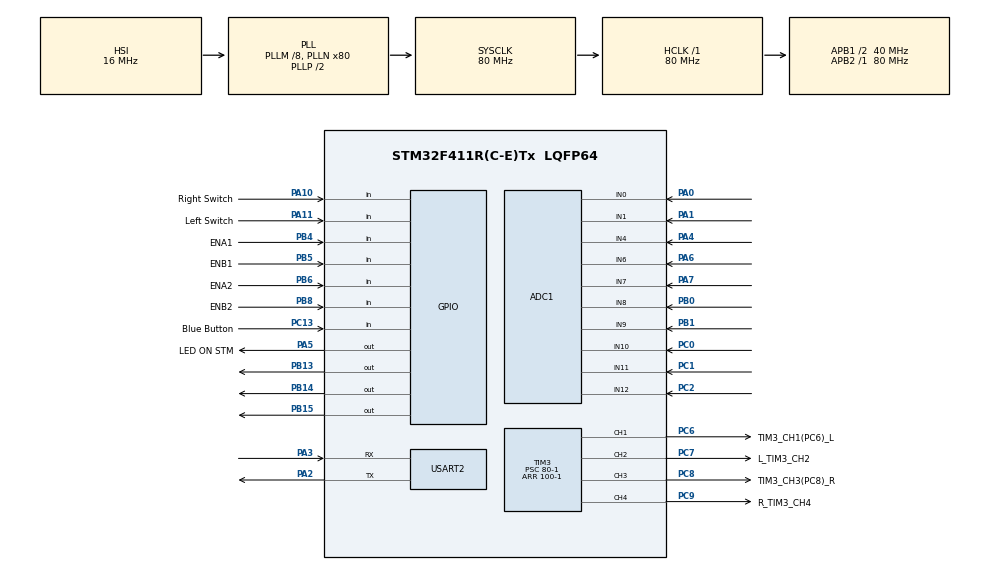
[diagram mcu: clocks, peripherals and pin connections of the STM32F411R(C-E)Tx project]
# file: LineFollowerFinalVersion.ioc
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ADC1.Channel-0\#ChannelRegularConversion=ADC_CHANNEL_0
ADC1.Channel-1\#ChannelRegularConversion=ADC_CHANNEL_1
ADC1.Channel-2\#ChannelRegularConversion=ADC_CHANNEL_4
ADC1.Channel-3\#ChannelRegularConversion=ADC_CHANNEL_6
ADC1.Channel-4\#ChannelRegularConversion=ADC_CHANNEL_7
ADC1.Channel-5\#ChannelRegularConversion=ADC_CHANNEL_8
ADC1.Channel-6\#ChannelRegularConversion=ADC_CHANNEL_9
ADC1.Channel-7\#ChannelRegularConversion=ADC_CHANNEL_10
ADC1.ContinuousConvMode=ENABLE
ADC1.DMAContinuousRequests=ENABLE
ADC1.NbrOfConversion=8
ADC1.NbrOfConversionFlag=1
ADC1.Rank-0\#ChannelRegularConversion=1
ADC1.Rank-1\#ChannelRegularConversion=2
ADC1.Rank-2\#ChannelRegularConversion=3
ADC1.Rank-3\#ChannelRegularConversion=4
ADC1.Rank-4\#ChannelRegularConversion=5
ADC1.Rank-5\#ChannelRegularConversion=6
ADC1.Rank-6\#ChannelRegularConversion=7
ADC1.Rank-7\#ChannelRegularConversion=8
ADC1.SamplingTime-0\#ChannelRegularConversion=ADC_SAMPLETIME_3CYCLES
ADC1.SamplingTime-1\#ChannelRegularConversion=ADC_SAMPLETIME_3CYCLES
ADC1.SamplingTime-2\#ChannelRegularConversion=ADC_SAMPLETIME_3CYCLES
ADC1.SamplingTime-3\#ChannelRegularConversion=ADC_SAMPLETIME_3CYCLES
ADC1.SamplingTime-4\#ChannelRegularConversion=ADC_SAMPLETIME_3CYCLES
ADC1.SamplingTime-5\#ChannelRegularConversion=ADC_SAMPLETIME_3CYCLES
ADC1.SamplingTime-6\#ChannelRegularConversion=ADC_SAMPLETIME_3CYCLES
ADC1.SamplingTime-7\#ChannelRegularConversion=ADC_SAMPLETIME_3CYCLES
ADC1.ScanConvMode=ENABLE
ADC1.master=1
Dma.ADC1.0.Direction=DMA_PERIPH_TO_MEMORY
Dma.ADC1.0.FIFOMode=DMA_FIFOMODE_DISABLE
Dma.ADC1.0.Instance=DMA2_Stream0
Dma.ADC1.0.MemDataAlignment=DMA_MDATAALIGN_HALFWORD
Dma.ADC1.0.MemInc=DMA_MINC_ENABLE
Dma.ADC1.0.Mode=DMA_CIRCULAR
Dma.ADC1.0.PeriphDataAlignment=DMA_PDATAALIGN_HALFWORD
Dma.ADC1.0.PeriphInc=DMA_PINC_DISABLE
Dma.ADC1.0.Priority=DMA_PRIORITY_LOW
Dma.Request0=ADC1
Mcu.Family=STM32F4
Mcu.Name=STM32F411R(C-E)Tx
Mcu.Package=LQFP64
NVIC.DMA2_Stream0_IRQn=true\:0\:0\:false\:false\:true\:false\:true\:true
NVIC.PriorityGroup=NVIC_PRIORITYGROUP_4
NVIC.TIM1_UP_TIM10_IRQn=true\:0\:0\:false\:false\:true\:true\:true\:true
PA0-WKUP.Signal=ADCx_IN0
PA1.Signal=ADCx_IN1
PA10.GPIO_Label=Right Switch
PA10.Signal=GPIO_Input
PA11.GPIO_Label=Left Switch
PA11.Signal=GPIO_Input
PA2.Mode=Asynchronous
PA2.Signal=USART2_TX
PA3.Mode=Asynchronous
PA3.Signal=USART2_RX
PA4.Signal=ADCx_IN4
PA5.GPIO_Label=LED ON STM
PA5.Signal=GPIO_Output
PA6.Signal=ADCx_IN6
PA7.Signal=ADCx_IN7
PB0.Signal=ADCx_IN8
PB1.Signal=ADCx_IN9
PB13.Signal=GPIO_Output
PB14.Signal=GPIO_Output
PB15.Signal=GPIO_Output
PB4.GPIO_Label=ENA1
PB4.Signal=GPIO_Input
PB5.GPIO_Label=ENB1
PB5.Signal=GPIO_Input
PB6.GPIO_Label=ENA2
PB6.Signal=GPIO_Input
PB8.GPIO_Label=ENB2
PB8.Signal=GPIO_Input
PC0.Signal=ADCx_IN10
PC1.Signal=ADCx_IN11
PC13-ANTI_TAMP.GPIO_Label=Blue Button
PC13-ANTI_TAMP.Signal=GPIO_Input
PC2.Signal=ADCx_IN12
PC6.GPIO_Label=TIM3_CH1(PC6)_L
PC6.Signal=S_TIM3_CH1
PC7.GPIO_Label=L_TIM3_CH2
PC7.Signal=S_TIM3_CH2
PC8.GPIO_Label=TIM3_CH3(PC8)_R
PC8.Signal=S_TIM3_CH3
PC9.GPIO_Label=R_TIM3_CH4
PC9.Signal=S_TIM3_CH4
ProjectManager.HeapSize=0x200
ProjectManager.StackSize=0x400
ProjectManager.TargetToolchain=STM32CubeIDE
RCC.48MHZClocksFreq_Value=40000000
RCC.AHBFreq_Value=80000000
RCC.APB1CLKDivider=RCC_HCLK_DIV2
RCC.APB1Freq_Value=40000000
RCC.APB1TimFreq_Value=80000000
RCC.APB2Freq_Value=80000000
RCC.APB2TimFreq_Value=80000000
RCC.CortexFreq_Value=80000000
RCC.HCLKFreq_Value=80000000
RCC.HSE_VALUE=25000000
RCC.HSI_VALUE=16000000
RCC.LSE_VALUE=32768
RCC.PLLM=8
RCC.PLLN=80
RCC.SYSCLKFreq_VALUE=80000000
RCC.SYSCLKSource=RCC_SYSCLKSOURCE_PLLCLK
RCC.VCOOutputFreq_Value=160000000
SH.ADCx_IN0.0=ADC1_IN0,IN0
SH.ADCx_IN1.0=ADC1_IN1,IN1
SH.ADCx_IN10.0=ADC1_IN10,IN10
SH.ADCx_IN11.0=ADC1_IN11,IN11
SH.ADCx_IN12.0=ADC1_IN12,IN12
SH.ADCx_IN4.0=ADC1_IN4,IN4
SH.ADCx_IN6.0=ADC1_IN6,IN6
SH.ADCx_IN7.0=ADC1_IN7,IN7
SH.ADCx_IN8.0=ADC1_IN8,IN8
SH.ADCx_IN9.0=ADC1_IN9,IN9
SH.S_TIM3_CH1.0=TIM3_CH1,PWM Generation1 CH1
SH.S_TIM3_CH2.0=TIM3_CH2,PWM Generation2 CH2
SH.S_TIM3_CH3.0=TIM3_CH3,PWM Generation3 CH3
SH.S_TIM3_CH4.0=TIM3_CH4,PWM Generation4 CH4
TIM10.Period=50000-1
TIM10.Prescaler=80-1
TIM3.Channel-PWM\ Generation1\ CH1=TIM_CHANNEL_1
TIM3.Channel-PWM\ Generation2\ CH2=TIM_CHANNEL_2
TIM3.Channel-PWM\ Generation3\ CH3=TIM_CHANNEL_3
TIM3.Channel-PWM\ Generation4\ CH4=TIM_CHANNEL_4
TIM3.Period=100-1
TIM3.Prescaler=80-1
USART2.VirtualMode=VM_ASYNC
VP_TIM10_VS_ClockSourceINT.Mode=Enable_Timer
board=custom

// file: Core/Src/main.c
/* USER CODE BEGIN Header */
/**
  ******************************************************************************
  * @file           : main.c
  * @brief          : Main program body
  ******************************************************************************
  * @attention
  *
  * Copyright (c) 2023 STMicroelectronics.
  * All rights reserved.
  *
  * This software is licensed under terms that can be found in the LICENSE file
  * in the root directory of this software component.
  * If no LICENSE file comes with this software, it is provided AS-IS.
  *
  ******************************************************************************
  */
/* USER CODE END Header */
#include "main.h"

/* USER CODE BEGIN Includes */
#include "stdio.h"
#include "string.h"
/* USER CODE END Includes */

/* USER CODE BEGIN PD */
#define ADC_BUF_LEN 16
/* USER CODE END PD */

ADC_HandleTypeDef hadc1;
DMA_HandleTypeDef hdma_adc1;

TIM_HandleTypeDef htim3;
TIM_HandleTypeDef htim10;

UART_HandleTypeDef huart2;

/* USER CODE BEGIN PV */
uint16_t adc_current[ADC_BUF_LEN];
uint32_t sensors_max[8], sensors_min[8];
float previousLvalue1, previousLvalue2, previousLvalue3 ,previousRvalue1 ,previousRvalue2, previousRvalue3;
float norm_ss[8];
unsigned char text1[100];
unsigned char text2[100];
float sum_norm_ss = 0;
float position = 0;
float error = 0;
float error_previous = 0;
float error_integral = 0;
float error_derivative = 0;
float setpoint = 0;
float rightMotor;
float leftMotor;
float kp = 2;
float ki = 0.01;
float kd = 0.32;
float pidCalculate;
float linear_v = 100;

float dt = 0.05;

/* USER CODE END PV */

void SystemClock_Config(void);
static void MX_GPIO_Init(void);
static void MX_DMA_Init(void);
static void MX_ADC1_Init(void);
static void MX_USART2_UART_Init(void);
static void MX_TIM3_Init(void);
static void MX_TIM10_Init(void);

int main(void)
{

  /* MCU Configuration--------------------------------------------------------*/

  /* Reset of all peripherals, Initializes the Flash interface and the Systick. */
  HAL_Init();

  /* Configure the system clock */
  SystemClock_Config();

  /* Initialize all configured peripherals */
  MX_GPIO_Init();
  MX_DMA_Init();
  MX_ADC1_Init();
  MX_USART2_UART_Init();
  MX_TIM3_Init();
  MX_TIM10_Init();
  /* USER CODE BEGIN 2 */
  HAL_ADC_Start_DMA(&hadc1, (uint32_t*)adc_current, ADC_BUF_LEN);
  HAL_TIM_PWM_Start(&htim3 , TIM_CHANNEL_1);
  HAL_TIM_PWM_Start(&htim3 , TIM_CHANNEL_3);
  HAL_TIM_PWM_Start(&htim3 , TIM_CHANNEL_2);
  HAL_TIM_PWM_Start(&htim3 , TIM_CHANNEL_4);

//  HAL_GPIO_WritePin(GPIOC, GPIO_PIN_7, GPIO_PIN_RESET);
//  HAL_GPIO_WritePin(GPIOC, GPIO_PIN_9, GPIO_PIN_RESET);
  for(int i=0; i<8; i++){
  	  sensors_min[i] = 4095;
  	  sensors_max[i]=0;
    }
  HAL_TIM_Base_Start_IT(&htim10);
  /* USER CODE END 2 */

  /* Infinite loop */
  /* USER CODE BEGIN WHILE */
  while (1)
    {
	  if (HAL_GPIO_ReadPin(GPIOA, GPIO_PIN_5) == 0)
	  {
		  pidCalculate = 0;
	  }
	  if (HAL_GPIO_ReadPin(GPIOA, GPIO_PIN_10) == 0){

	  			for(int i=0; i<8; i++){
	  			   sensors_min[i] = 4095;
	  			   sensors_max[i] = 0;
	  			}
	  		 }
	  		 while(HAL_GPIO_ReadPin(GPIOA, GPIO_PIN_11) == 0){
	  		  for (int i=0; i<8; i++){
	  		   if (sensors_max[i]<adc_current[i]){
	  			sensors_max[i]=adc_current[i];
	  			  }
	  		   if (sensors_min[i]>adc_current[i]){
	  			sensors_min[i]=adc_current[i];
	  			  }
	  		  }
	  		 }

    /* USER CODE END WHILE */

    }
}

void SystemClock_Config(void)
{
  RCC_OscInitTypeDef RCC_OscInitStruct = {0};
  RCC_ClkInitTypeDef RCC_ClkInitStruct = {0};

  /** Configure the main internal regulator output voltage
  */
  __HAL_RCC_PWR_CLK_ENABLE();
  __HAL_PWR_VOLTAGESCALING_CONFIG(PWR_REGULATOR_VOLTAGE_SCALE1);

  /** Initializes the RCC Oscillators according to the specified parameters
  * in the RCC_OscInitTypeDef structure.
  */
  RCC_OscInitStruct.OscillatorType = RCC_OSCILLATORTYPE_HSI;
  RCC_OscInitStruct.HSIState = RCC_HSI_ON;
  RCC_OscInitStruct.HSICalibrationValue = RCC_HSICALIBRATION_DEFAULT;
  RCC_OscInitStruct.PLL.PLLState = RCC_PLL_ON;
  RCC_OscInitStruct.PLL.PLLSource = RCC_PLLSOURCE_HSI;
  RCC_OscInitStruct.PLL.PLLM = 8;
  RCC_OscInitStruct.PLL.PLLN = 80;
  RCC_OscInitStruct.PLL.PLLP = RCC_PLLP_DIV2;
  RCC_OscInitStruct.PLL.PLLQ = 4;
  if (HAL_RCC_OscConfig(&RCC_OscInitStruct) != HAL_OK)
  {
    Error_Handler();
  }

  /** Initializes the CPU, AHB and APB buses clocks
  */
  RCC_ClkInitStruct.ClockType = RCC_CLOCKTYPE_HCLK|RCC_CLOCKTYPE_SYSCLK
                              |RCC_CLOCKTYPE_PCLK1|RCC_CLOCKTYPE_PCLK2;
  RCC_ClkInitStruct.SYSCLKSource = RCC_SYSCLKSOURCE_PLLCLK;
  RCC_ClkInitStruct.AHBCLKDivider = RCC_SYSCLK_DIV1;
  RCC_ClkInitStruct.APB1CLKDivider = RCC_HCLK_DIV2;
  RCC_ClkInitStruct.APB2CLKDivider = RCC_HCLK_DIV1;

  if (HAL_RCC_ClockConfig(&RCC_ClkInitStruct, FLASH_LATENCY_2) != HAL_OK)
  {
    Error_Handler();
  }
}

static void MX_ADC1_Init(void)
{

  ADC_ChannelConfTypeDef sConfig = {0};

  /** Configure the global features of the ADC (Clock, Resolution, Data Alignment and number of conversion)
  */
  hadc1.Instance = ADC1;
  hadc1.Init.ClockPrescaler = ADC_CLOCK_SYNC_PCLK_DIV4;
  hadc1.Init.Resolution = ADC_RESOLUTION_12B;
  hadc1.Init.ScanConvMode = ENABLE;
  hadc1.Init.ContinuousConvMode = ENABLE;
  hadc1.Init.DiscontinuousConvMode = DISABLE;
  hadc1.Init.ExternalTrigConvEdge = ADC_EXTERNALTRIGCONVEDGE_NONE;
  hadc1.Init.ExternalTrigConv = ADC_SOFTWARE_START;
  hadc1.Init.DataAlign = ADC_DATAALIGN_RIGHT;
  hadc1.Init.NbrOfConversion = 8;
  hadc1.Init.DMAContinuousRequests = ENABLE;
  hadc1.Init.EOCSelection = ADC_EOC_SINGLE_CONV;
  if (HAL_ADC_Init(&hadc1) != HAL_OK)
  {
    Error_Handler();
  }

  /** Configure for the selected ADC regular channel its corresponding rank in the sequencer and its sample time.
  */
  sConfig.Channel = ADC_CHANNEL_0;
  sConfig.Rank = 1;
  sConfig.SamplingTime = ADC_SAMPLETIME_3CYCLES;
  if (HAL_ADC_ConfigChannel(&hadc1, &sConfig) != HAL_OK)
  {
    Error_Handler();
  }

  /** Configure for the selected ADC regular channel its corresponding rank in the sequencer and its sample time.
  */
  sConfig.Channel = ADC_CHANNEL_1;
  sConfig.Rank = 2;
  if (HAL_ADC_ConfigChannel(&hadc1, &sConfig) != HAL_OK)
  {
    Error_Handler();
  }

  /** Configure for the selected ADC regular channel its corresponding rank in the sequencer and its sample time.
  */
  sConfig.Channel = ADC_CHANNEL_4;
  sConfig.Rank = 3;
  if (HAL_ADC_ConfigChannel(&hadc1, &sConfig) != HAL_OK)
  {
    Error_Handler();
  }

  /** Configure for the selected ADC regular channel its corresponding rank in the sequencer and its sample time.
  */
  sConfig.Channel = ADC_CHANNEL_6;
  sConfig.Rank = 4;
  if (HAL_ADC_ConfigChannel(&hadc1, &sConfig) != HAL_OK)
  {
    Error_Handler();
  }

  /** Configure for the selected ADC regular channel its corresponding rank in the sequencer and its sample time.
  */
  sConfig.Channel = ADC_CHANNEL_7;
  sConfig.Rank = 5;
  if (HAL_ADC_ConfigChannel(&hadc1, &sConfig) != HAL_OK)
  {
    Error_Handler();
  }

  /** Configure for the selected ADC regular channel its corresponding rank in the sequencer and its sample time.
  */
  sConfig.Channel = ADC_CHANNEL_8;
  sConfig.Rank = 6;
  if (HAL_ADC_ConfigChannel(&hadc1, &sConfig) != HAL_OK)
  {
    Error_Handler();
  }

  /** Configure for the selected ADC regular channel its corresponding rank in the sequencer and its sample time.
  */
  sConfig.Channel = ADC_CHANNEL_9;
  sConfig.Rank = 7;
  if (HAL_ADC_ConfigChannel(&hadc1, &sConfig) != HAL_OK)
  {
    Error_Handler();
  }

  /** Configure for the selected ADC regular channel its corresponding rank in the sequencer and its sample time.
  */
  sConfig.Channel = ADC_CHANNEL_10;
  sConfig.Rank = 8;
  if (HAL_ADC_ConfigChannel(&hadc1, &sConfig) != HAL_OK)
  {
    Error_Handler();
  }

}

static void MX_TIM3_Init(void)
{

  TIM_MasterConfigTypeDef sMasterConfig = {0};
  TIM_OC_InitTypeDef sConfigOC = {0};

  htim3.Instance = TIM3;
  htim3.Init.Prescaler = 80-1;
  htim3.Init.CounterMode = TIM_COUNTERMODE_UP;
  htim3.Init.Period = 100-1;
  htim3.Init.ClockDivision = TIM_CLOCKDIVISION_DIV1;
  htim3.Init.AutoReloadPreload = TIM_AUTORELOAD_PRELOAD_DISABLE;
  if (HAL_TIM_PWM_Init(&htim3) != HAL_OK)
  {
    Error_Handler();
  }
  sMasterConfig.MasterOutputTrigger = TIM_TRGO_RESET;
  sMasterConfig.MasterSlaveMode = TIM_MASTERSLAVEMODE_DISABLE;
  if (HAL_TIMEx_MasterConfigSynchronization(&htim3, &sMasterConfig) != HAL_OK)
  {
    Error_Handler();
  }
  sConfigOC.OCMode = TIM_OCMODE_PWM1;
  sConfigOC.Pulse = 0;
  sConfigOC.OCPolarity = TIM_OCPOLARITY_HIGH;
  sConfigOC.OCFastMode = TIM_OCFAST_DISABLE;
  if (HAL_TIM_PWM_ConfigChannel(&htim3, &sConfigOC, TIM_CHANNEL_1) != HAL_OK)
  {
    Error_Handler();
  }
  if (HAL_TIM_PWM_ConfigChannel(&htim3, &sConfigOC, TIM_CHANNEL_2) != HAL_OK)
  {
    Error_Handler();
  }
  if (HAL_TIM_PWM_ConfigChannel(&htim3, &sConfigOC, TIM_CHANNEL_3) != HAL_OK)
  {
    Error_Handler();
  }
  if (HAL_TIM_PWM_ConfigChannel(&htim3, &sConfigOC, TIM_CHANNEL_4) != HAL_OK)
  {
    Error_Handler();
  }
  HAL_TIM_MspPostInit(&htim3);

}

static void MX_TIM10_Init(void)
{

  htim10.Instance = TIM10;
  htim10.Init.Prescaler = 80-1;
  htim10.Init.CounterMode = TIM_COUNTERMODE_UP;
  htim10.Init.Period = 5000-1;
  htim10.Init.ClockDivision = TIM_CLOCKDIVISION_DIV1;
  htim10.Init.AutoReloadPreload = TIM_AUTORELOAD_PRELOAD_DISABLE;
  if (HAL_TIM_Base_Init(&htim10) != HAL_OK)
  {
    Error_Handler();
  }

}

static void MX_USART2_UART_Init(void)
{

  huart2.Instance = USART2;
  huart2.Init.BaudRate = 115200;
  huart2.Init.WordLength = UART_WORDLENGTH_8B;
  huart2.Init.StopBits = UART_STOPBITS_1;
  huart2.Init.Parity = UART_PARITY_NONE;
  huart2.Init.Mode = UART_MODE_TX_RX;
  huart2.Init.HwFlowCtl = UART_HWCONTROL_NONE;
  huart2.Init.OverSampling = UART_OVERSAMPLING_16;
  if (HAL_UART_Init(&huart2) != HAL_OK)
  {
    Error_Handler();
  }

}

static void MX_DMA_Init(void)
{

  /* DMA controller clock enable */
  __HAL_RCC_DMA2_CLK_ENABLE();

  /* DMA interrupt init */
  /* DMA2_Stream0_IRQn interrupt configuration */
  HAL_NVIC_SetPriority(DMA2_Stream0_IRQn, 0, 0);
  HAL_NVIC_EnableIRQ(DMA2_Stream0_IRQn);

}

static void MX_GPIO_Init(void)
{
  GPIO_InitTypeDef GPIO_InitStruct = {0};

  /* GPIO Ports Clock Enable */
  __HAL_RCC_GPIOC_CLK_ENABLE();
  __HAL_RCC_GPIOA_CLK_ENABLE();
  __HAL_RCC_GPIOB_CLK_ENABLE();

  /*Configure GPIO pin Output Level */
  HAL_GPIO_WritePin(LED_ON_STM_GPIO_Port, LED_ON_STM_Pin, GPIO_PIN_RESET);

  /*Configure GPIO pin Output Level */
  HAL_GPIO_WritePin(GPIOB, GPIO_PIN_13|GPIO_PIN_14|GPIO_PIN_15, GPIO_PIN_RESET);

  /*Configure GPIO pin : Blue_Button_Pin */
  GPIO_InitStruct.Pin = Blue_Button_Pin;
  GPIO_InitStruct.Mode = GPIO_MODE_INPUT;
  GPIO_InitStruct.Pull = GPIO_NOPULL;
  HAL_GPIO_Init(Blue_Button_GPIO_Port, &GPIO_InitStruct);

  /*Configure GPIO pin : LED_ON_STM_Pin */
  GPIO_InitStruct.Pin = LED_ON_STM_Pin;
  GPIO_InitStruct.Mode = GPIO_MODE_OUTPUT_PP;
  GPIO_InitStruct.Pull = GPIO_NOPULL;
  GPIO_InitStruct.Speed = GPIO_SPEED_FREQ_LOW;
  HAL_GPIO_Init(LED_ON_STM_GPIO_Port, &GPIO_InitStruct);

  /*Configure GPIO pins : PB13 PB14 PB15 */
  GPIO_InitStruct.Pin = GPIO_PIN_13|GPIO_PIN_14|GPIO_PIN_15;
  GPIO_InitStruct.Mode = GPIO_MODE_OUTPUT_PP;
  GPIO_InitStruct.Pull = GPIO_NOPULL;
  GPIO_InitStruct.Speed = GPIO_SPEED_FREQ_LOW;
  HAL_GPIO_Init(GPIOB, &GPIO_InitStruct);

  /*Configure GPIO pins : Right_Switch_Pin Left_Switch_Pin */
  GPIO_InitStruct.Pin = Right_Switch_Pin|Left_Switch_Pin;
  GPIO_InitStruct.Mode = GPIO_MODE_INPUT;
  GPIO_InitStruct.Pull = GPIO_NOPULL;
  HAL_GPIO_Init(GPIOA, &GPIO_InitStruct);

  /*Configure GPIO pins : ENA1_Pin ENB1_Pin ENA2_Pin ENB2_Pin */
  GPIO_InitStruct.Pin = ENA1_Pin|ENB1_Pin|ENA2_Pin|ENB2_Pin;
  GPIO_InitStruct.Mode = GPIO_MODE_INPUT;
  GPIO_InitStruct.Pull = GPIO_NOPULL;
  HAL_GPIO_Init(GPIOB, &GPIO_InitStruct);

}

/* USER CODE BEGIN 4 */
void HAL_TIM_PeriodElapsedCallback(TIM_HandleTypeDef *htim){
	if(htim == &htim10){
		sum_norm_ss=0;

		for (int i=0;i<8;i++){
		  norm_ss[i]=1-((float)adc_current[i]-(float)sensors_min[i])/ ((float)sensors_max[i]-(float)sensors_min[i]);
		  sum_norm_ss += norm_ss[i];
	  }
		position = ((-50*norm_ss[0])+(-35.72*norm_ss[1])+(-21.44*norm_ss[2])+(-7.16*norm_ss[5])+(7.16*norm_ss[7])+(21.44*norm_ss[3])+(35.72*norm_ss[4])+(50*norm_ss[6]));
//		sprintf(&text1, "%.2f,%.2f,%.2f,%.2f,%.2f,%.2f,%.2f,%.2f\r\n", norm_ss[6],norm_ss[4],norm_ss[3],norm_ss[7],norm_ss[5],norm_ss[2],norm_ss[1],norm_ss[0]);
		sprintf(&text1, "%.2f\r\n", position);
		HAL_UART_Transmit(&huart2, text1, strlen(text1), 1000);
		if(position < -50) position = -50;
		if(position > 50) position = 50;

	error = position - setpoint;
	error_integral += error*dt;
	error_derivative = (error - error_previous)/dt;
	error_previous = error ;
	pidCalculate = kp*error + ki*error_integral + kd*error_derivative;
	rightMotor = linear_v + pidCalculate;
	leftMotor = linear_v - pidCalculate;
	if(rightMotor>100) rightMotor = 100;
	if(rightMotor<0) rightMotor = 0;
	if(leftMotor>100) leftMotor = 100;
	if(leftMotor<0) leftMotor = 0;
	sprintf(&text2, "leftMotor=%.2f rightMotor=%.2f Position=%.2f Error = %.2f pidCalculate = %.2f \r\n",leftMotor, rightMotor, position, error, pidCalculate);
//	HAL_UART_Transmit(&huart2, text2, strlen(text2), 1000);
//
	if(norm_ss[1] >0.4 || norm_ss[2] > 0.4 || norm_ss[3] >0.4 || norm_ss[4] > 0.4 || norm_ss[5] >0.4 || norm_ss [7] >0.4)
	{
		//forward
		TIM3->CCR1 = leftMotor-15; //100*leftMotor/100;
		TIM3->CCR2 = 0;
		TIM3->CCR3 = rightMotor-15; //100*rightMotor/100;
		TIM3->CCR4 = 0;

	}else{
		 if(previousLvalue1 >0.4 || previousLvalue2 >0.4 || previousLvalue3 >0.4){
			 // Reverse left Motor
			 			TIM3->CCR1 = 90; //100*leftMotor/100;
			 			TIM3->CCR2 = 0;
			 		    TIM3->CCR3 = 0; //100*rightMotor/100;
			 			TIM3->CCR4 = 90;

		 }
		 if(previousRvalue1 > 0.4 || previousRvalue2 > 0.4 || previousRvalue3 > 0.4){

			 // Reverse right motor
			 TIM3->CCR1 = 0; //100*leftMotor/100;
			 TIM3->CCR2 = 90;
			 TIM3->CCR3 = 90; //100*rig htMotor/100;
			 TIM3->CCR4 = 0;

		 }
	}

	previousLvalue1 = norm_ss[0];
	previousLvalue2 = norm_ss[1];
	previousLvalue3 = norm_ss[2];
	previousRvalue1 = norm_ss[3];
	previousRvalue2 = norm_ss[4];
	previousRvalue3 = norm_ss[6];

//	TIM3->CCR1 = leftMotor-10; //100*leftMotor/100;
//	TIM3->CCR3 = rightMotor-10; //100*rightMotor/100;
//	TIM3->CCR4 = 0;
//	TIM3->CCR2 = 0;
	}
}
/* USER CODE END 4 */

void Error_Handler(void)
{
  __disable_irq();
  while (1)
  {
  }
}
